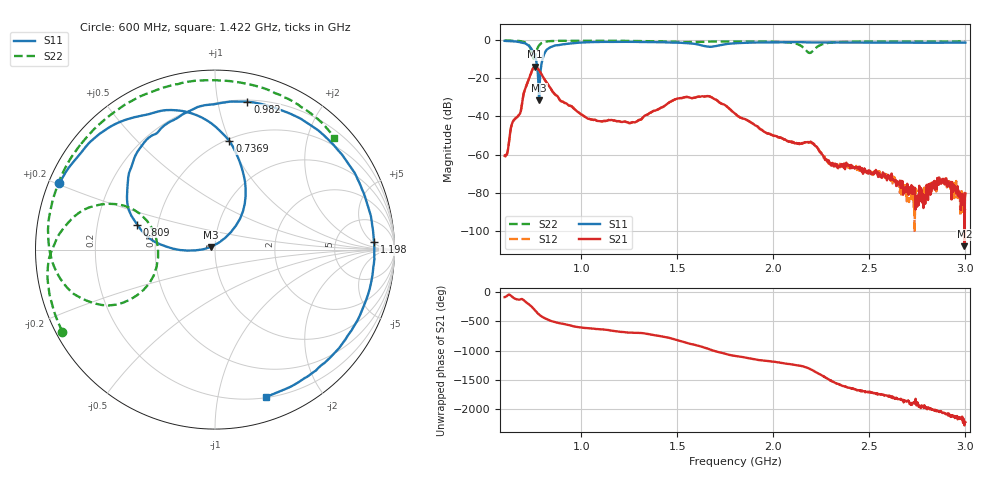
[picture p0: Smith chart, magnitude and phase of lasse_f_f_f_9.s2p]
#  HZ  S  RI  R  50.00
! Rohde & Schwarz ZVB8 2Ports - Version 2.81 - 1145.1010k08 SN: 100113
! Date: 2016-05-04 02:50:34
! Measurements: S11 S21 S12 S22
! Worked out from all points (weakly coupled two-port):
!   1000 points, 600 MHz to 3 GHz, reference 50 ohm
!   highest |S21| = -14.10 dB at 758.6 MHz (marker M1); lowest = -108.0 dB at 2.995 GHz (marker M2)
!   lowest |S11| = -31.6 dB at 780.2 MHz (marker M3), VSWR 1.05, Z = 47.9 + j1.47 ohm
!   |S11| at or under -10 dB: 762.6 MHz to 797.9 MHz (35.28 MHz wide, 4.52 % of centre)
!   |S22| runs from -10.0 to -0.3 dB; largest |S21 - S12| = 0.0037
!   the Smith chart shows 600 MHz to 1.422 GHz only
!   S11 on the Smith chart (normalised r, x): 600 MHz: 0.03, +0.20; 736.9 MHz: 0.52, +1.00; 809 MHz: 0.38, +0.13; 982 MHz: 0.22, +1.22; 1.198 GHz: 15, +6; 1.422 GHz: 0.21, -1.38
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6e8  -0.8667 0.3699  7.87e-05 -0.00092  0.000153 -0.000885  -0.8507 -0.4574
6.912913e8  -0.3729 0.7535  -0.0109 -0.0199  -0.0105 -0.02  -0.9061 0.00344
7.369369e8  0.0802 0.6054  -0.0743 0.1073  -0.0733 0.1079  -0.5077 0.2453
7.585586e8  0.1709 0.3334  0.1377 0.1411  0.1371 0.1403  -0.3414 -0.1448
7.801802e8  -0.0215 0.0153  0.1438 -0.0654  0.1432 -0.0647  -0.66 -0.3025
8.09009e8  -0.4331 0.139  0.00658 -0.0901  0.00718 -0.0903  -0.8787 -0.1324
9.81982e8  0.181 0.823  -0.00686 0.0109  -0.00698 0.0109  -0.7404 0.5969
1.001201e9  0.2765 0.8068  -0.0046 0.01  -0.00467 0.01  -0.7021 0.6401
1.198198e9  0.886 0.0413  0.00542 0.00512  0.00534 0.00512  -0.0853 0.9423
1.4e9  0.3803 -0.7817  0.0137 -0.00671  0.0137 -0.00669  0.6133 0.6876
1.421622e9  0.2841 -0.8212  0.0135 -0.0109  0.0134 -0.0108  0.6647 0.6233
1.659459e9  -0.4832 -0.4596  -0.0131 0.0313  -0.0132 0.0311  0.8865 -0.1587
1.801201e9  -0.778 -0.2524  0.0114 -0.00256  0.0114 -0.00247  0.6538 -0.6362
1.978979e9  -0.7472 0.4388  -0.000615 -0.00341  -0.0006 -0.00344  0.0612 -0.8998
2.120721e9  -0.3192 0.8122  -0.00197 -0.000373  -0.00185 -0.00031  -0.4298 -0.6614
2.2e9  0.00107 0.8559  -0.000716 0.00187  -0.000746 0.00187  -0.1614 -0.4572
2.296096e9  0.3804 0.7644  0.000158 -0.000591  0.000186 -0.000519  -0.4798 -0.6977
2.601201e9  0.7611 -0.3726  0.000269 6.96e-05  0.000258 2.72e-05  -0.9121 -0.0197
2.793393e9  0.1544 -0.8268  -8.48e-05 -2.54e-05  -0.000133 -4.9e-05  -0.8076 0.4107
2.889489e9  -0.195 -0.8226  -2.7e-05 0.000206  -4.17e-05 0.000194  -0.6869 0.5868
2.995195e9  -0.5436 -0.649  -1.96e-06 -3.48e-06  8.42e-05 -5.26e-05  -0.5047 0.7422
3e9  -0.5556 -0.6379  4.61e-05 -8.41e-05  8.48e-06 3.68e-05  -0.4938 0.7502
